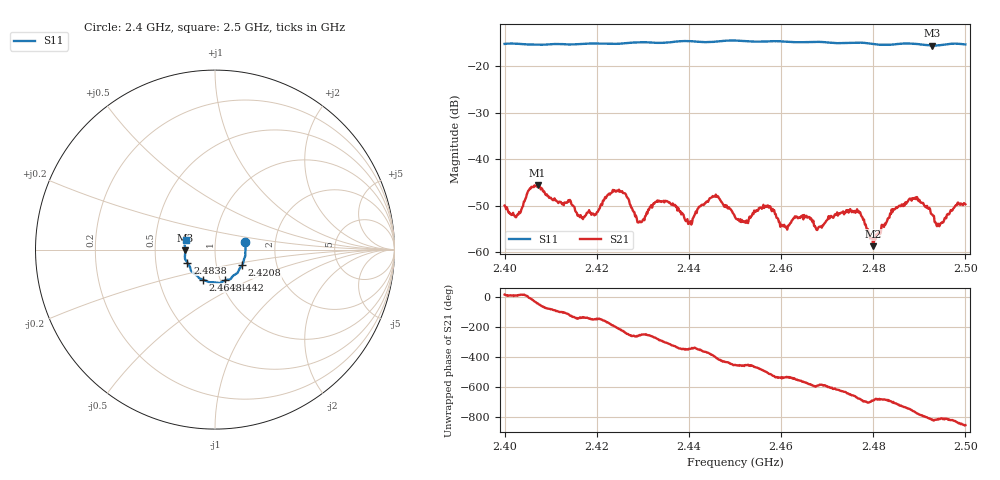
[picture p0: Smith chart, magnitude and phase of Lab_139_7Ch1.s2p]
# Hz S RI R 50
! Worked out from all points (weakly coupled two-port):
!   601 points, 2.4 GHz to 2.5 GHz, reference 50 ohm
!   highest |S21| = -45.57 dB at 2.4072 GHz (marker M1); lowest = -58.7 dB at 2.48 GHz (marker M2)
!   lowest |S11| = -15.6 dB at 2.4928 GHz (marker M3), VSWR 1.40, Z = 35.8 - j0.344 ohm
!   |S11| at or under -10 dB: start of sweep to end of sweep
!   S12 and S22 are empty: the file has one direction only
!   S11 on the Smith chart (normalised r, x): 2.4 GHz: 1.40, +0.12; 2.4208 GHz: 1.33, -0.24; 2.4442 GHz: 1.05, -0.37; 2.4648 GHz: 0.83, -0.29; 2.4838 GHz: 0.73, -0.11; 2.5 GHz: 0.72, +0.08
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2.4e9  0.1678 0.041  0.00307 0.000859  0 0  0 0
2.402833e9  0.1713 0.0254  0.00254 0.000365  0 0  0 0
2.407167e9  0.1693 -0.0107  0.00384 -0.0036  0 0  0 0
2.416667e9  0.1589 -0.0681  -0.00173 -0.00162  0 0  0 0
2.420833e9  0.1507 -0.0872  -0.00271 -0.00173  0 0  0 0
2.425333e9  0.1349 -0.1101  -0.0033 0.00306  0 0  0 0
2.429333e9  0.1263 -0.1282  -0.000627 0.00207  0 0  0 0
2.433333e9  0.108 -0.1404  0.000688 0.00343  0 0  0 0
2.440167e9  0.0811 -0.1662  0.00204 0.000489  0 0  0 0
2.444167e9  0.0568 -0.1713  0.00343 -0.000655  0 0  0 0
2.45e9  0.0245 -0.1863  -5.78e-05 -0.0024  0 0  0 0
2.456667e9  -0.0182 -0.1822  -0.00233 -0.00214  0 0  0 0
2.464833e9  -0.0683 -0.1668  -0.00209 0.000885  0 0  0 0
2.466667e9  -0.08 -0.1628  -0.00157 0.00157  0 0  0 0
2.476667e9  -0.1306 -0.1215  0.00188 0.00195  0 0  0 0
2.48e9  -0.1373 -0.1038  0.00099 0.00062  0 0  0 0
2.483333e9  -0.1504 -0.0763  0.00207 0.0011  0 0  0 0
2.483833e9  -0.1532 -0.0722  0.00231 0.00116  0 0  0 0
2.489e9  -0.1677 -0.0432  0.00271 -0.00263  0 0  0 0
2.492833e9  -0.1658 -0.00468  -0.000401 -0.00251  0 0  0 0
2.494333e9  -0.1666 0.0114  -9.72e-05 -0.00191  0 0  0 0
2.5e9  -0.1622 0.053  -0.00224 -0.00241  0 0  0 0
